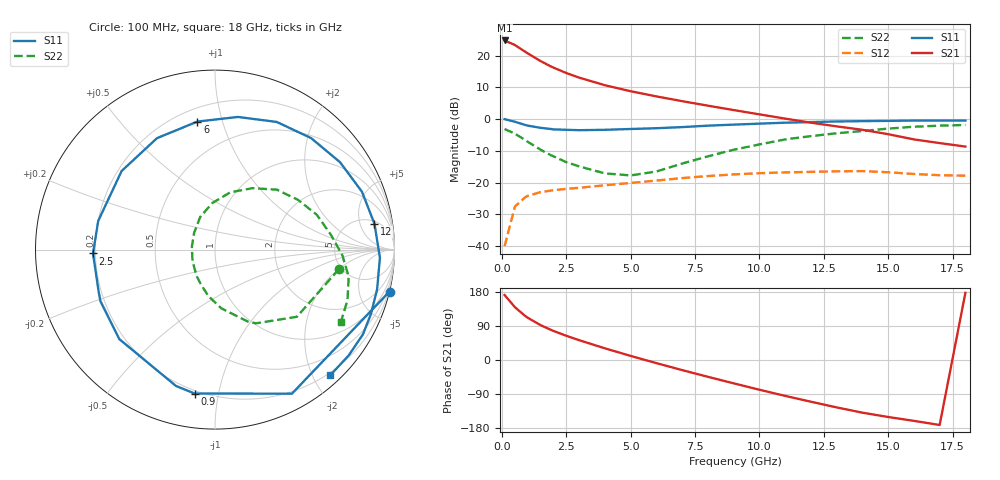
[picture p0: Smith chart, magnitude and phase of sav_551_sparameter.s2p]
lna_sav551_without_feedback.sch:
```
<QucsStudio Schematic 5.8>
<Properties>
View=-118.823,-43.0496,1753.93,942.39,1.30612,452,254
Grid=10,10,1
DataSet=*.dat
DataDisplay=*.dpl
OpenDisplay=1
showFrame=0
FrameText0=Titel \n @PATH@@FILE@
FrameText1=Gezeichnet von:
FrameText2=Datum: @DATE@
FrameText3=Revision:
</Properties>
<Symbol>
</Symbol>
<Components>
Pac P3 1 1210 420 18 -26 0 "2"1"50"1"0"0"1 GHz"0"26.85"0"con_2"0
SPfile X1 1 770 340 -83 -160 0 "sav_551_sparameter.s2p"1"2"0"polar"0"linear"0"open"0"none"0"block"0"SOT23"0
Pac P1 1 250 410 18 -26 0 "1"1"50"1"0 dBm"0"1 GHz"0"26.85"0"con_2"0
GND * 1 250 490 0 0 0
.SP SP1 1 650 600 11 12 0 "log"1"100MHz"1"300MHz"1"500"1"no"0"1"0"2"0"none"0
L L2 1 690 410 10 -26 1 "1.1uH"1"1"0""0"inductor_1mH"0
L L3 1 870 410 10 -19 1 "1.1 uH"1"0"0""0"inductor_1mH"0
C C2 1 1090 340 -26 17 0 "100 pF"1"0"0""0"neutral"0"SMD0603"0
C C1 1 380 340 -26 17 0 "100 pF"1"0"0""0"neutral"0"SMD0603"0
</Components>
<Wires>
1210 450 1210 480
770 370 770 480
1210 340 1210 390
870 340 870 380
770 480 870 480
870 440 870 480
800 340 870 340
870 480 1210 480
690 340 740 340
690 340 690 380
690 480 770 480
690 440 690 480
250 440 250 480
250 480 250 490
250 480 690 480
870 340 1060 340
1120 340 1210 340
250 340 250 380
250 340 350 340
410 340 690 340
</Wires>
<Diagrams>
</Diagrams>
<Paintings>
</Paintings>
```
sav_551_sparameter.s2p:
# GHZ S MA R 50
! Frequency(GHz) S11(mag,deg) S21(mag,deg) S12(mag,deg) S22(mag,deg)
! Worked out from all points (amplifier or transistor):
!   24 points, 100 MHz to 18 GHz, reference 50 ohm
!   highest |S21| = 24.8 dB at 100 MHz (marker M1)
!   |S21| within 3 dB of that: start of sweep to 795.1 MHz
!   unconditionally stable (mu >= 1): 4.65 GHz to 10.4 GHz
!   at 1.5 GHz: K = 0.43, MSG = 20.6 dB, |S12| = -23.0 dB
!   at 7 GHz: K = 1.11, MAG = 10.1 dB, |S12| = -18.6 dB
!   at 18 GHz: K = 0.81, MSG = 4.6 dB, |S12| = -17.8 dB
!   S11 on the Smith chart (normalised r, x): 100 MHz: 0.00, -8.45; 900 MHz: 0.18, -0.85; 2.5 GHz: 0.19, -0.02; 6 GHz: 0.28, +0.83; 12 GHz: 6, +9; 18 GHz: 0.16, -2.26
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0.1  1 -13.5  17.35 171.5  0.01 81.4  0.7 -8.9
0.5  0.91 -61.9  14.71 139.3  0.042 56.8  0.59 -39.4
0.9  0.81 -98.1  11.52 116.2  0.059 40.4  0.47 -60.9
1.5  0.73 -136.9  8.2 91.9  0.071 25.5  0.33 -83.7
1.9  0.7 -155.7  6.76 79.5  0.075 19.3  0.27 -95.6
2.5  0.68 -178.2  5.32 63.8  0.08 12.7  0.21 -111.6
4  0.68 139.9  3.42 30.7  0.091 1.0  0.14 -153.6
6  0.72 97.8  2.28 -8.3  0.108 -13.5  0.15 140.6
10  0.85 34.9  1.19 -78.5  0.141 -52.1  0.4 58.8
12  0.9 9.2  0.88 -110.1  0.148 -74.3  0.54 30.8
18  0.95 -47.5  0.37 177.3  0.129 -130.7  0.81 -30.1
